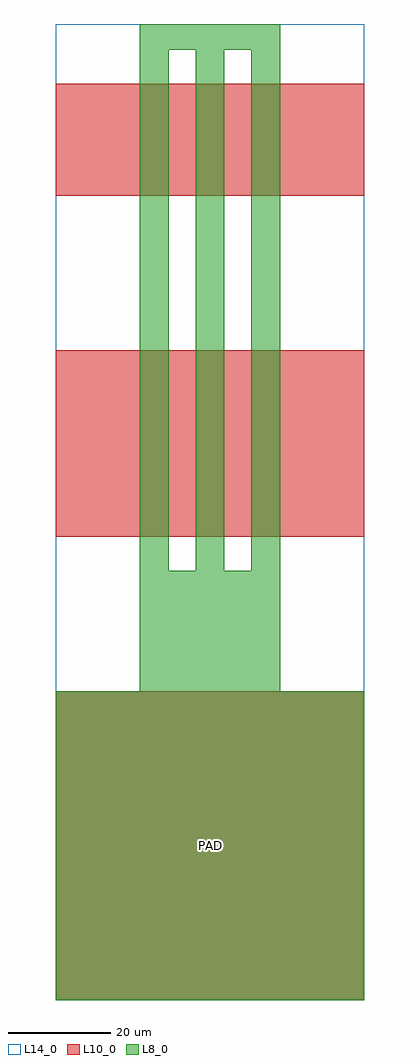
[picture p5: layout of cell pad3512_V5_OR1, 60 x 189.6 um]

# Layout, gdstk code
import gdstk
lib = gdstk.Library(unit=1e-6, precision=1e-09)
def R(c, l, rs):  # rectangles x0, y0, x1, y1
    for r in rs: c.add(gdstk.rectangle(r[:2], r[2:], *l))
def A(c, l, x, y, w, h, nx, ny, dx, dy):  # array of equal rectangles
    R(c, l, [(x+i*dx, y+j*dy, x+i*dx+w, y+j*dy+h) for i in range(nx) for j in range(ny)])
L8_0 = (8, 0)
L10_0 = (10, 0)
L14_0 = (14, 0)

pad60_v6_or1 = lib.new_cell('PAD60_V6_OR1')
R(pad60_v6_or1, L8_0, [(0,0,60,60)])
R(pad60_v6_or1, L10_0, [(0,0,60,60)])

pad3512_v5_or1 = lib.new_cell('pad3512_V5_OR1')
A(pad3512_v5_or1, L8_0, 16.4, 83.4, 5.6, 101.2, 3, 1, 10.8, 0)
R(pad3512_v5_or1, L8_0, [(16.4,60,43.6,83.4), (16.4,184.6,43.6,189.6)])
R(pad3512_v5_or1, L10_0, [(0,90,60,126.2), (0,156.2,60,178)])
R(pad3512_v5_or1, L14_0, [(0,0,60,189.6)])
pad3512_v5_or1.add(gdstk.Reference(pad60_v6_or1, (0,0)))
pad3512_v5_or1.add(gdstk.Label('PAD', (30,30.1), layer=13, texttype=0))

lib.write_gds('pad3512_V5_OR1.gds')
